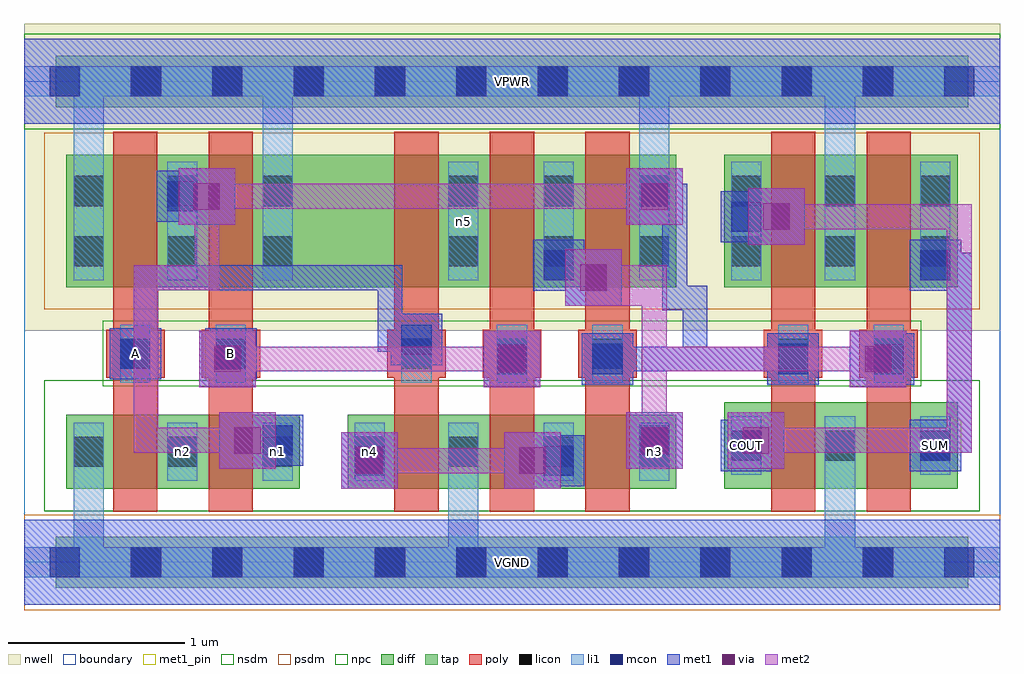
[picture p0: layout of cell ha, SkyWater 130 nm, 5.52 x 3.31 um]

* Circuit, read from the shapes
.subckt ha A B COUT SUM VGND VPWR n1 n2 n3 n4 n5
XM1 n2 A VGND VGND sky130_fd_pr__nfet_01v8 w=0.42 l=0.25
XM2 n1 B n2 VGND sky130_fd_pr__nfet_01v8 w=0.42 l=0.25
XM3 VGND A n4 VGND sky130_fd_pr__nfet_01v8 w=0.42 l=0.25
XM4 n4 B VGND VGND sky130_fd_pr__nfet_01v8 w=0.42 l=0.25
XM5 n3 n1 n4 VGND sky130_fd_pr__nfet_01v8 w=0.42 l=0.25
XM6 VGND n1 COUT VGND sky130_fd_pr__nfet_01v8 w=0.49 l=0.25
XM7 SUM n3 VGND VGND sky130_fd_pr__nfet_01v8 w=0.49 l=0.25
XM8 n1 A VPWR VPWR sky130_fd_pr__pfet_01v8 w=0.75 l=0.25
XM9 VPWR B n1 VPWR sky130_fd_pr__pfet_01v8 w=0.75 l=0.25
XM10 n5 A VPWR VPWR sky130_fd_pr__pfet_01v8 w=0.75 l=0.25
XM11 n3 B n5 VPWR sky130_fd_pr__pfet_01v8 w=0.75 l=0.25
XM12 VPWR n1 n3 VPWR sky130_fd_pr__pfet_01v8 w=0.75 l=0.25
XM13 VPWR n1 COUT VPWR sky130_fd_pr__pfet_01v8 w=0.75 l=0.25
XM14 SUM n3 VPWR VPWR sky130_fd_pr__pfet_01v8 w=0.75 l=0.25
.ends

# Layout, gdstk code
import gdstk
lib = gdstk.Library(unit=1e-6, precision=1e-09)
def R(c, l, rs):  # rectangles x0, y0, x1, y1
    for r in rs: c.add(gdstk.rectangle(r[:2], r[2:], *l))
def A(c, l, x, y, w, h, nx, ny, dx, dy):  # array of equal rectangles
    R(c, l, [(x+i*dx, y+j*dy, x+i*dx+w, y+j*dy+h) for i in range(nx) for j in range(ny)])
nwell = (64, 20)
diff = (65, 20)
tap = (65, 44)
poly = (66, 20)
licon = (66, 44)
li1 = (67, 20)
mcon = (67, 44)
met1_pin = (68, 16)
met1 = (68, 20)
via = (68, 44)
met2 = (69, 20)
nsdm = (93, 44)
psdm = (94, 20)
npc = (95, 20)
boundary = (235, 4)

c_ha = lib.new_cell('ha')
R(c_ha, nwell, [(0,1.31,5.52,3.045)])
R(c_ha, diff, [(0.24,0.415,1.56,0.835), (1.83,0.415,3.69,0.835), (3.96,0.415,5.28,0.905), (0.24,1.555,3.69,2.305), (3.96,1.555,5.28,2.305)])
R(c_ha, tap, [(0.18,-0.145,5.34,0.145), (0.18,2.575,5.34,2.865)])
A(c_ha, poly, 2.095, 0.285, 0.25, 2.15, 3, 1, 0.54, 0)
A(c_ha, poly, 2.055, 1.045, 0.33, 0.27, 3, 1, 0.54, 0)
R(c_ha, poly, [(0.505,0.285,0.755,2.435), (1.045,0.285,1.295,2.435), (4.225,0.285,4.475,2.435), (4.765,0.285,5.015,2.435), (0.465,1.045,0.795,1.315), (1.005,1.045,1.335,1.315), (4.185,1.045,4.515,1.315), (4.725,1.045,5.055,1.315)])
A(c_ha, licon, 0.605, -0.085, 0.17, 0.17, 10, 2, 0.46, 2.72)
A(c_ha, licon, 2.4, 0.54, 0.17, 0.17, 3, 2, 0.54, 1.135)
A(c_ha, licon, 2.135, 1.095, 0.17, 0.17, 3, 1, 0.54, 0)
A(c_ha, licon, 2.4, 2.015, 0.17, 0.17, 3, 1, 0.54, 0)
R(c_ha, licon, [(0.28,0.54,0.45,0.71), (0.81,0.54,0.98,0.71), (1.35,0.54,1.52,0.71), (1.87,0.54,2.04,0.71), (4,0.575,4.17,0.745), (4.53,0.575,4.7,0.745), (5.07,0.575,5.24,0.745), (0.545,1.095,0.715,1.265), (1.085,1.095,1.255,1.265), (4.265,1.095,4.435,1.265), (4.805,1.095,4.975,1.265), (0.28,1.675,0.45,1.845), (0.81,1.675,0.98,1.845), (1.35,1.675,1.52,1.845), (4,1.675,4.17,1.845), (4.53,1.675,4.7,1.845), (5.07,1.675,5.24,1.845), (0.28,2.015,0.45,2.185), (0.81,2.015,0.98,2.185), (1.35,2.015,1.52,2.185), (4,2.015,4.17,2.185), (4.53,2.015,4.7,2.185), (5.07,2.015,5.24,2.185)])
A(c_ha, li1, 2.4, 0.46, 0.17, 0.33, 3, 1, 0.54, 0)
A(c_ha, li1, 2.135, 1.015, 0.17, 0.33, 3, 1, 0.54, 0)
A(c_ha, li1, 2.4, 1.595, 0.17, 0.67, 3, 1, 0.54, 0)
R(c_ha, li1, [(0,-0.085,5.52,0.085), (0.28,-0.085,0.45,0.79), (2.4,-0.085,2.57,0.79), (4.53,-0.085,4.7,0.825), (0.28,0.46,0.45,0.79), (0.81,0.46,0.98,0.79), (1.35,0.46,1.52,0.79), (1.87,0.46,2.04,0.79), (4,0.495,4.17,0.825), (4.53,0.495,4.7,0.825), (5.07,0.495,5.24,0.825), (0.545,1.015,0.715,1.345), (1.085,1.015,1.255,1.345), (4.265,1.015,4.435,1.345), (4.805,1.015,4.975,1.345), (0.28,1.595,0.45,2.265), (0.28,1.595,0.45,2.805), (0.81,1.595,0.98,2.265), (1.35,1.595,1.52,2.265), (1.35,1.595,1.52,2.805), (3.48,1.595,3.65,2.805), (4,1.595,4.17,2.265), (4.53,1.595,4.7,2.265), (4.53,1.595,4.7,2.805), (5.07,1.595,5.24,2.265), (0,2.635,5.52,2.805)])
A(c_ha, mcon, 0.145, -0.085, 0.17, 0.17, 12, 2, 0.46, 2.72)
R(c_ha, mcon, [(1.87,0.49,2.04,0.66), (2.94,0.49,3.11,0.66), (4,0.575,4.17,0.745), (5.07,0.575,5.24,0.745), (1.35,0.605,1.52,0.775), (3.48,0.605,3.65,0.775), (2.675,1.065,2.845,1.235), (3.215,1.065,3.385,1.235), (4.265,1.065,4.435,1.235), (4.805,1.065,4.975,1.235), (0.545,1.095,0.715,1.265), (1.085,1.095,1.255,1.265), (2.135,1.175,2.305,1.345), (2.94,1.595,3.11,1.765), (5.07,1.595,5.24,1.765), (4,1.87,4.17,2.04), (0.81,1.985,0.98,2.155)])
R(c_ha, met1_pin, [(0,-0.24,5.52,0.24), (3.94,0.515,4.23,0.805), (5.01,0.515,5.3,0.805), (0.485,1.035,0.775,1.325), (1.025,1.035,1.315,1.325), (0,2.48,5.52,2.96)])
R(c_ha, met1, [(0,-0.24,5.52,0.24), (1.795,0.415,2.115,0.735), (2.715,0.415,3.035,0.735), (1.81,0.43,2.1,0.72), (2.88,0.43,3.17,0.72), (2.805,0.505,3.095,0.645), (3.94,0.515,4.23,0.805), (5.01,0.515,5.3,0.805), (1.105,0.53,1.425,0.85), (3.405,0.53,3.725,0.85), (3.98,0.53,4.3,0.85), (1.29,0.545,1.58,0.835), (3.42,0.545,3.71,0.835), (1.195,0.62,1.505,0.76), (4.07,0.62,4.21,0.76), (5.105,0.62,5.245,0.76), (5.105,0.62,5.36,0.76), (5.22,0.62,5.36,1.565), (0.99,0.99,1.31,1.31), (2.6,0.99,2.92,1.31), (4.67,0.99,4.99,1.31), (2.615,1.005,2.905,1.295), (3.155,1.005,3.445,1.295), (4.205,1.005,4.495,1.295), (4.745,1.005,5.035,1.295), (0.485,1.035,0.775,1.325), (1.025,1.035,1.315,1.325), (0.62,1.08,0.76,1.22), (0.62,1.08,0.76,1.68), (1.08,1.08,1.22,1.22), (3.23,1.08,3.52,1.22), (3.38,1.08,4.325,1.22), (3.725,1.08,3.865,1.565), (4.185,1.08,4.42,1.22), (4.76,1.08,4.96,1.22), (2.075,1.115,2.365,1.405), (2,1.19,2.29,1.33), (2,1.19,2.14,1.45), (2,1.31,2.14,1.68), (3.61,1.425,3.865,1.565), (3.61,1.425,3.75,2.14), (5.22,1.425,5.36,1.75), (3.06,1.45,3.38,1.77), (2.88,1.535,3.17,1.825), (5.01,1.535,5.3,1.825), (0.62,1.54,2.14,1.68), (3.15,1.54,3.29,1.75), (2.955,1.61,3.29,1.75), (5.085,1.61,5.36,1.75), (4.095,1.795,4.415,2.115), (3.94,1.81,4.23,2.1), (4.015,1.885,4.325,2.025), (0.875,1.91,1.195,2.23), (3.405,1.91,3.725,2.23), (0.75,1.925,1.04,2.215), (0.825,2,1.105,2.14), (3.495,2,3.75,2.14), (0,2.48,5.52,2.96)])
R(c_ha, via, [(1.88,0.5,2.03,0.65), (2.8,0.5,2.95,0.65), (1.19,0.615,1.34,0.765), (3.49,0.615,3.64,0.765), (4.065,0.615,4.215,0.765), (1.075,1.075,1.225,1.225), (2.685,1.075,2.835,1.225), (4.755,1.075,4.905,1.225), (3.145,1.535,3.295,1.685), (4.18,1.88,4.33,2.03), (0.96,1.995,1.11,2.145), (3.49,1.995,3.64,2.145)])
R(c_ha, met2, [(1.795,0.415,2.115,0.735), (2.715,0.415,3.035,0.735), (1.885,0.505,2.945,0.645), (1.105,0.53,1.425,0.85), (3.405,0.53,3.725,0.85), (3.98,0.53,4.3,0.85), (0.62,0.62,0.76,1.68), (0.62,0.62,1.335,0.76), (3.495,0.62,3.635,1.68), (4.07,0.62,5.36,0.76), (5.22,0.62,5.36,2.025), (0.99,0.99,1.31,1.31), (2.6,0.99,2.92,1.31), (4.67,0.99,4.99,1.31), (1.08,1.08,2.83,1.22), (3.495,1.08,4.9,1.22), (3.06,1.45,3.38,1.77), (3.38,1.45,3.495,1.68), (0.62,1.54,1.105,1.68), (0.965,1.54,1.105,2.14), (3.15,1.54,3.635,1.68), (4.095,1.795,4.415,2.115), (4.185,1.885,5.36,2.025), (0.875,1.91,1.195,2.23), (3.405,1.91,3.725,2.23), (0.965,2,3.635,2.14)])
R(c_ha, nsdm, [(0.115,0.29,5.405,1.03), (0,2.45,5.52,2.99)])
R(c_ha, psdm, [(0,-0.27,5.52,0.27), (0.115,1.43,5.405,2.43)])
R(c_ha, npc, [(0.445,0.995,5.075,1.365)])
R(c_ha, boundary, [(0,0,5.52,2.72)])
c_ha.add(gdstk.Label('n2', (0.895,0.625), layer=67, texttype=5))
c_ha.add(gdstk.Label('n1', (1.435,0.625), layer=67, texttype=5))
c_ha.add(gdstk.Label('n4', (1.955,0.625), layer=67, texttype=5))
c_ha.add(gdstk.Label('n3', (3.565,0.625), layer=67, texttype=5))
c_ha.add(gdstk.Label('n5', (2.485,1.93), layer=67, texttype=5))
c_ha.add(gdstk.Label('A', (0.63,1.18), layer=68, texttype=5))
c_ha.add(gdstk.Label('B', (1.17,1.18), layer=68, texttype=5))
c_ha.add(gdstk.Label('COUT', (4.085,0.66), layer=68, texttype=5))
c_ha.add(gdstk.Label('SUM', (5.155,0.66), layer=68, texttype=5))
c_ha.add(gdstk.Label('VPWR', (2.76,2.72), layer=68, texttype=5))
c_ha.add(gdstk.Label('VGND', (2.76,0), layer=68, texttype=5))
c_ha.add(gdstk.Label('A', (0.63,1.18), layer=68, texttype=16))
c_ha.add(gdstk.Label('B', (1.17,1.18), layer=68, texttype=16))
c_ha.add(gdstk.Label('COUT', (4.085,0.66), layer=68, texttype=16))
c_ha.add(gdstk.Label('SUM', (5.155,0.66), layer=68, texttype=16))
c_ha.add(gdstk.Label('VPWR', (2.76,2.72), layer=68, texttype=16))
c_ha.add(gdstk.Label('VGND', (2.76,0), layer=68, texttype=16))

lib.write_gds('ha.gds')
